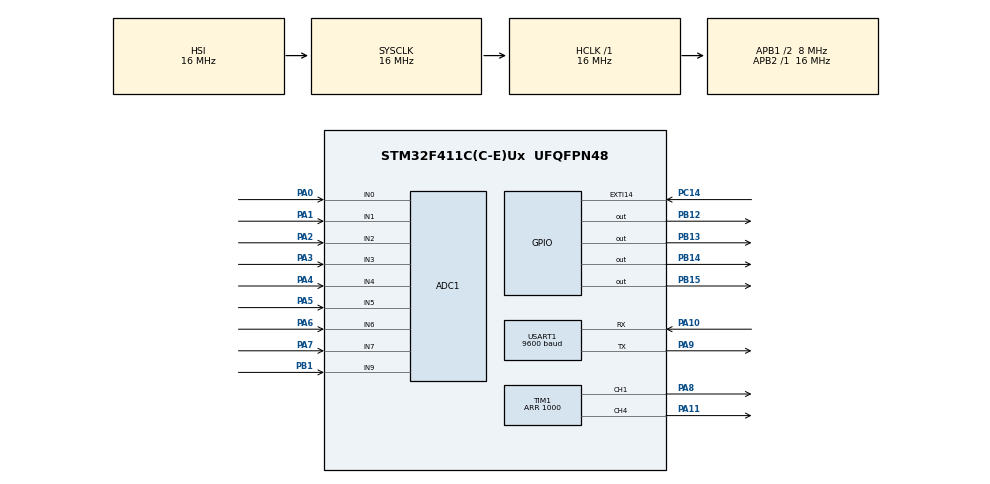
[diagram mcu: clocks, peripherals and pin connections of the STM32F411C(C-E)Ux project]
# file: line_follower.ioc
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ADC1.Channel-0\#ChannelRegularConversion=ADC_CHANNEL_0
ADC1.Channel-1\#ChannelRegularConversion=ADC_CHANNEL_1
ADC1.Channel-2\#ChannelRegularConversion=ADC_CHANNEL_2
ADC1.Channel-3\#ChannelRegularConversion=ADC_CHANNEL_3
ADC1.Channel-4\#ChannelRegularConversion=ADC_CHANNEL_4
ADC1.Channel-5\#ChannelRegularConversion=ADC_CHANNEL_5
ADC1.Channel-6\#ChannelRegularConversion=ADC_CHANNEL_6
ADC1.Channel-7\#ChannelRegularConversion=ADC_CHANNEL_7
ADC1.Channel-8\#ChannelRegularConversion=ADC_CHANNEL_9
ADC1.ContinuousConvMode=ENABLE
ADC1.DMAContinuousRequests=ENABLE
ADC1.NbrOfConversion=9
ADC1.NbrOfConversionFlag=1
ADC1.Rank-0\#ChannelRegularConversion=1
ADC1.Rank-1\#ChannelRegularConversion=2
ADC1.Rank-2\#ChannelRegularConversion=3
ADC1.Rank-3\#ChannelRegularConversion=4
ADC1.Rank-4\#ChannelRegularConversion=5
ADC1.Rank-5\#ChannelRegularConversion=6
ADC1.Rank-6\#ChannelRegularConversion=7
ADC1.Rank-7\#ChannelRegularConversion=8
ADC1.Rank-8\#ChannelRegularConversion=9
ADC1.SamplingTime-0\#ChannelRegularConversion=ADC_SAMPLETIME_144CYCLES
ADC1.SamplingTime-1\#ChannelRegularConversion=ADC_SAMPLETIME_144CYCLES
ADC1.SamplingTime-2\#ChannelRegularConversion=ADC_SAMPLETIME_144CYCLES
ADC1.SamplingTime-3\#ChannelRegularConversion=ADC_SAMPLETIME_144CYCLES
ADC1.SamplingTime-4\#ChannelRegularConversion=ADC_SAMPLETIME_144CYCLES
ADC1.SamplingTime-5\#ChannelRegularConversion=ADC_SAMPLETIME_144CYCLES
ADC1.SamplingTime-6\#ChannelRegularConversion=ADC_SAMPLETIME_144CYCLES
ADC1.SamplingTime-7\#ChannelRegularConversion=ADC_SAMPLETIME_144CYCLES
ADC1.SamplingTime-8\#ChannelRegularConversion=ADC_SAMPLETIME_144CYCLES
ADC1.ScanConvMode=ENABLE
ADC1.master=1
Dma.ADC1.0.Direction=DMA_PERIPH_TO_MEMORY
Dma.ADC1.0.FIFOMode=DMA_FIFOMODE_DISABLE
Dma.ADC1.0.Instance=DMA2_Stream0
Dma.ADC1.0.MemDataAlignment=DMA_MDATAALIGN_HALFWORD
Dma.ADC1.0.MemInc=DMA_MINC_ENABLE
Dma.ADC1.0.Mode=DMA_CIRCULAR
Dma.ADC1.0.PeriphDataAlignment=DMA_PDATAALIGN_HALFWORD
Dma.ADC1.0.PeriphInc=DMA_PINC_DISABLE
Dma.ADC1.0.Priority=DMA_PRIORITY_LOW
Dma.Request0=ADC1
Mcu.Family=STM32F4
Mcu.Name=STM32F411C(C-E)Ux
Mcu.Package=UFQFPN48
NVIC.DMA2_Stream0_IRQn=true\:0\:0\:false\:false\:true\:false\:true\:true
NVIC.EXTI15_10_IRQn=true\:0\:0\:false\:false\:true\:true\:true\:true
NVIC.PriorityGroup=NVIC_PRIORITYGROUP_4
NVIC.USART1_IRQn=true\:0\:0\:false\:false\:true\:true\:true\:true
PA0-WKUP.Signal=ADCx_IN0
PA1.Signal=ADCx_IN1
PA10.Mode=Asynchronous
PA10.Signal=USART1_RX
PA11.Signal=S_TIM1_CH4
PA2.Signal=ADCx_IN2
PA3.Signal=ADCx_IN3
PA4.Signal=ADCx_IN4
PA5.Signal=ADCx_IN5
PA6.Signal=ADCx_IN6
PA7.Signal=ADCx_IN7
PA8.Signal=S_TIM1_CH1
PA9.Mode=Asynchronous
PA9.Signal=USART1_TX
PB1.Signal=ADCx_IN9
PB12.Signal=GPIO_Output
PB13.Signal=GPIO_Output
PB14.Signal=GPIO_Output
PB15.Signal=GPIO_Output
PC14-OSC32_IN.GPIO_ModeDefaultEXTI=GPIO_MODE_IT_FALLING
PC14-OSC32_IN.GPIO_PuPd=GPIO_PULLUP
PC14-OSC32_IN.Signal=GPXTI14
ProjectManager.HeapSize=0x200
ProjectManager.StackSize=0x400
ProjectManager.TargetToolchain=STM32CubeIDE
RCC.48MHZClocksFreq_Value=16000000
RCC.AHBFreq_Value=16000000
RCC.APB1CLKDivider=RCC_HCLK_DIV2
RCC.APB1Freq_Value=8000000
RCC.APB1TimFreq_Value=16000000
RCC.APB2Freq_Value=16000000
RCC.APB2TimFreq_Value=16000000
RCC.CortexFreq_Value=16000000
RCC.HCLKFreq_Value=16000000
RCC.HSE_VALUE=25000000
RCC.HSI_VALUE=16000000
RCC.LSE_VALUE=32768
RCC.PLLM=25
RCC.PLLN=100
RCC.SYSCLKFreq_VALUE=16000000
RCC.VCOOutputFreq_Value=64000000
SH.ADCx_IN0.0=ADC1_IN0,IN0
SH.ADCx_IN1.0=ADC1_IN1,IN1
SH.ADCx_IN2.0=ADC1_IN2,IN2
SH.ADCx_IN3.0=ADC1_IN3,IN3
SH.ADCx_IN4.0=ADC1_IN4,IN4
SH.ADCx_IN5.0=ADC1_IN5,IN5
SH.ADCx_IN6.0=ADC1_IN6,IN6
SH.ADCx_IN7.0=ADC1_IN7,IN7
SH.ADCx_IN9.0=ADC1_IN9,IN9
SH.S_TIM1_CH1.0=TIM1_CH1,PWM Generation1 CH1
SH.S_TIM1_CH4.0=TIM1_CH4,PWM Generation4 CH4
TIM1.Channel-PWM\ Generation1\ CH1=TIM_CHANNEL_1
TIM1.Channel-PWM\ Generation4\ CH4=TIM_CHANNEL_4
TIM1.OCMode_PWM-PWM\ Generation4\ CH4=TIM_OCMODE_PWM1
TIM1.Period=1000
USART1.BaudRate=9600
USART1.VirtualMode=VM_ASYNC
VP_ADC1_Vbat_Input.Mode=IN-Vbat
board=custom

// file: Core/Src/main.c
/* USER CODE BEGIN Header */
/**
 ******************************************************************************
 * @file           : main.c
 * @brief          : Main program body
 ******************************************************************************
 * @attention
 *
 * Copyright (c) 2026 STMicroelectronics.
 * All rights reserved.
 *
 * This software is licensed under terms that can be found in the LICENSE file
 * in the root directory of this software component.
 * If no LICENSE file comes with this software, it is provided AS-IS.
 *
 ******************************************************************************
 */
/* USER CODE END Header */
#include "main.h"

/* USER CODE BEGIN Includes */

#include "sensor_module.h"
#include "utils.h"
#include "bluetooth.h"
#include "motor.h"
#include <stdio.h>
#include <string.h>
#include "stdlib.h"

/* USER CODE END Includes */

ADC_HandleTypeDef hadc1;
DMA_HandleTypeDef hdma_adc1;

TIM_HandleTypeDef htim1;

UART_HandleTypeDef huart1;

/* USER CODE BEGIN PV */

Sensor sensors[NUM_SENSORS];
Sensor_Array sensor_array;
PID_Controller pid;

/* USER CODE END PV */

void SystemClock_Config(void);
static void MX_GPIO_Init(void);
static void MX_DMA_Init(void);
static void MX_ADC1_Init(void);
static void MX_TIM1_Init(void);
static void MX_USART1_UART_Init(void);

/* USER CODE BEGIN 0 */

int sensor_weights[NUM_SENSORS] = { -4, -3, -2, -1,1, 2, 3, 4 };

volatile int line;
volatile int line2;
volatile int correction;
volatile int left_speed;
volatile int right_speed;
int left;
int right;
int start = 0;
volatile float dt ;

uint8_t rx_data;
char rx_buffer[30];
int rx_index = 0;
float b ;
JunctionType j;

void HAL_GPIO_EXTI_Callback(uint16_t GPIO_Pin)
{

    if (GPIO_Pin == GPIO_PIN_14)
    {
    	if(start == 1){
    		start = 0;
    	}
    	else if (start == 0){
    	start = 1;
    	}

    }
}

void HAL_UART_RxCpltCallback(UART_HandleTypeDef *huart) {
	if (huart->Instance == USART1) {
		if (rx_data == '\n' || rx_data == '\r') {

			rx_buffer[rx_index] = '\0';
			rx_index = 0;

			char *cmd = rx_buffer;

			if (strncmp(cmd, "PID:", 4) == 0) {
				float p, i, d;
				if (sscanf(cmd + 4, "%f,%f,%f", &p, &i, &d) == 3) {
					pid.Kp = p;
					pid.Ki = i;
					pid.Kd = d;
					pid.integral = 0;
					pid.last_error = 0;
				}
			}

			else if (strncmp(cmd, "PARAM:", 6) == 0) {
			    char *bs = strstr(cmd, "BS");
			    char *pl = strstr(cmd, "PL");
			    if (bs) sensor_array.base_speed = atoi(bs + 2);
			    if (pl) pid.limit = atoi(pl + 2);
			}

			else if (strcmp(cmd, "START") == 0) {
				start = 1;
			} else if (strcmp(cmd, "STOP") == 0) {
				start = 0;
			}

			else if (strlen(cmd) > 1) {
				char type = cmd[0];
				float val = atof(&cmd[1]);
				if (type == 'P')
					pid.Kp = val;
				else if (type == 'I')
					pid.Ki = val;
				else if (type == 'D')
					pid.Kd = val;
				else if (type == 'B')
					sensor_array.base_speed = (int) val;
				else if (type == 'X')
					start = 0;
				else if (type == 'O')
					start = 1;
			}

		} else {
			rx_buffer[rx_index++] = rx_data;
		}

		HAL_UART_Receive_IT(&huart1, &rx_data, 1);
	}
}

void Send_Telemetry() {
    char buf[160];
    char ir_part[80] = "IR:";
    char tmp[8];

    for (int i = 0; i < sensor_array.number_of_sensors; i++) {
        snprintf(tmp, sizeof(tmp), "%u", (uint16_t)sensor_array.array[i].mapped_value);
        strcat(ir_part, tmp);
        if (i < sensor_array.number_of_sensors - 1) strcat(ir_part, ",");
    }

    snprintf(buf, sizeof(buf),
        "%s;PL:%d;PR:%d;BV:%.1f;PE:%.1f;PO:%.1f;JC:%d\n",
        ir_part,
        (int)(sensor_array.base_speed + correction),
        (int)(sensor_array.base_speed - correction),
        b, (float)line, (float)correction, (int)j
    );

    HAL_UART_Transmit(&huart1, (uint8_t*)buf, strlen(buf), 200);
}

/* USER CODE END 0 */

int main(void)
{

  /* MCU Configuration--------------------------------------------------------*/

  /* Reset of all peripherals, Initializes the Flash interface and the Systick. */
  HAL_Init();

  /* Configure the system clock */
  SystemClock_Config();

  /* Initialize all configured peripherals */
  MX_GPIO_Init();
  MX_DMA_Init();
  MX_ADC1_Init();
  MX_TIM1_Init();
  MX_USART1_UART_Init();
  /* USER CODE BEGIN 2 */

	HAL_TIM_PWM_Start(&htim1, TIM_CHANNEL_1);
	HAL_TIM_PWM_Start(&htim1, TIM_CHANNEL_4);

	HAL_ADC_Start_DMA(&hadc1, (uint32_t*) dma_buffer, NUM_SENSORS + 1);

	HAL_UART_Receive_IT(&huart1, &rx_data, 1);

	sensor_array.number_of_sensors = NUM_SENSORS;
	sensor_array.array = sensors;
	sensor_array.weights = sensor_weights;
	sensor_array.base_speed = 500;

	Initialize_Sensor_Array(&sensor_array);

	pid.Kd = 1;
	pid.Ki = 0.5;
	pid.Kp = 1;
	pid.integral = 0;
	pid.last_error = 0;
	pid.limit = 300;

	uint32_t last_time = HAL_GetTick();
	static uint32_t last_telem = 0;

  /* USER CODE END 2 */

  /* Infinite loop */
  /* USER CODE BEGIN WHILE */
	while (1) {

		b = battery_voltage(dma_buffer);
				Sync_Sensors(&sensor_array);

				uint32_t current_time = HAL_GetTick();
				uint32_t time_diff = current_time - last_time;

				if (time_diff == 0) {
					continue;
				}
				else{

				dt = time_diff / 1000.0f;
				last_time = current_time;}

				processSensors(&sensor_array);
				binarizeSensors(&sensor_array);

				if ((HAL_GetTick() - last_telem) >= TELEM_INTERVAL_MS) {
				    last_telem = HAL_GetTick();
				    Send_Telemetry();
				}

				if (start == 1) {

				    j = detect_junction_digital(&sensor_array);

				    if (j != NO_JUNCTION) {

				        handle_junction(&sensor_array, j, 600);
				    }
				    else {
				    	line = get_line_error_digital(&sensor_array);

				        correction = calculate_pid(&pid, line, dt);
				        follow_line(correction, &sensor_array);
				    }
				}
				else {
				    set_motor_speed(0, 0, b);
				}

    /* USER CODE END WHILE */

	}
}

void SystemClock_Config(void)
{
  RCC_OscInitTypeDef RCC_OscInitStruct = {0};
  RCC_ClkInitTypeDef RCC_ClkInitStruct = {0};

  /** Configure the main internal regulator output voltage
  */
  __HAL_RCC_PWR_CLK_ENABLE();
  __HAL_PWR_VOLTAGESCALING_CONFIG(PWR_REGULATOR_VOLTAGE_SCALE1);

  /** Initializes the RCC Oscillators according to the specified parameters
  * in the RCC_OscInitTypeDef structure.
  */
  RCC_OscInitStruct.OscillatorType = RCC_OSCILLATORTYPE_HSI;
  RCC_OscInitStruct.HSIState = RCC_HSI_ON;
  RCC_OscInitStruct.HSICalibrationValue = RCC_HSICALIBRATION_DEFAULT;
  RCC_OscInitStruct.PLL.PLLState = RCC_PLL_NONE;
  if (HAL_RCC_OscConfig(&RCC_OscInitStruct) != HAL_OK)
  {
    Error_Handler();
  }

  /** Initializes the CPU, AHB and APB buses clocks
  */
  RCC_ClkInitStruct.ClockType = RCC_CLOCKTYPE_HCLK|RCC_CLOCKTYPE_SYSCLK
                              |RCC_CLOCKTYPE_PCLK1|RCC_CLOCKTYPE_PCLK2;
  RCC_ClkInitStruct.SYSCLKSource = RCC_SYSCLKSOURCE_HSI;
  RCC_ClkInitStruct.AHBCLKDivider = RCC_SYSCLK_DIV1;
  RCC_ClkInitStruct.APB1CLKDivider = RCC_HCLK_DIV2;
  RCC_ClkInitStruct.APB2CLKDivider = RCC_HCLK_DIV1;

  if (HAL_RCC_ClockConfig(&RCC_ClkInitStruct, FLASH_LATENCY_0) != HAL_OK)
  {
    Error_Handler();
  }
}

static void MX_ADC1_Init(void)
{

  ADC_ChannelConfTypeDef sConfig = {0};

  /** Configure the global features of the ADC (Clock, Resolution, Data Alignment and number of conversion)
  */
  hadc1.Instance = ADC1;
  hadc1.Init.ClockPrescaler = ADC_CLOCK_SYNC_PCLK_DIV2;
  hadc1.Init.Resolution = ADC_RESOLUTION_12B;
  hadc1.Init.ScanConvMode = ENABLE;
  hadc1.Init.ContinuousConvMode = ENABLE;
  hadc1.Init.DiscontinuousConvMode = DISABLE;
  hadc1.Init.ExternalTrigConvEdge = ADC_EXTERNALTRIGCONVEDGE_NONE;
  hadc1.Init.ExternalTrigConv = ADC_SOFTWARE_START;
  hadc1.Init.DataAlign = ADC_DATAALIGN_RIGHT;
  hadc1.Init.NbrOfConversion = 9;
  hadc1.Init.DMAContinuousRequests = ENABLE;
  hadc1.Init.EOCSelection = ADC_EOC_SINGLE_CONV;
  if (HAL_ADC_Init(&hadc1) != HAL_OK)
  {
    Error_Handler();
  }

  /** Configure for the selected ADC regular channel its corresponding rank in the sequencer and its sample time.
  */
  sConfig.Channel = ADC_CHANNEL_0;
  sConfig.Rank = 1;
  sConfig.SamplingTime = ADC_SAMPLETIME_144CYCLES;
  if (HAL_ADC_ConfigChannel(&hadc1, &sConfig) != HAL_OK)
  {
    Error_Handler();
  }

  /** Configure for the selected ADC regular channel its corresponding rank in the sequencer and its sample time.
  */
  sConfig.Channel = ADC_CHANNEL_1;
  sConfig.Rank = 2;
  if (HAL_ADC_ConfigChannel(&hadc1, &sConfig) != HAL_OK)
  {
    Error_Handler();
  }

  /** Configure for the selected ADC regular channel its corresponding rank in the sequencer and its sample time.
  */
  sConfig.Channel = ADC_CHANNEL_2;
  sConfig.Rank = 3;
  if (HAL_ADC_ConfigChannel(&hadc1, &sConfig) != HAL_OK)
  {
    Error_Handler();
  }

  /** Configure for the selected ADC regular channel its corresponding rank in the sequencer and its sample time.
  */
  sConfig.Channel = ADC_CHANNEL_3;
  sConfig.Rank = 4;
  if (HAL_ADC_ConfigChannel(&hadc1, &sConfig) != HAL_OK)
  {
    Error_Handler();
  }

  /** Configure for the selected ADC regular channel its corresponding rank in the sequencer and its sample time.
  */
  sConfig.Channel = ADC_CHANNEL_4;
  sConfig.Rank = 5;
  if (HAL_ADC_ConfigChannel(&hadc1, &sConfig) != HAL_OK)
  {
    Error_Handler();
  }

  /** Configure for the selected ADC regular channel its corresponding rank in the sequencer and its sample time.
  */
  sConfig.Channel = ADC_CHANNEL_5;
  sConfig.Rank = 6;
  if (HAL_ADC_ConfigChannel(&hadc1, &sConfig) != HAL_OK)
  {
    Error_Handler();
  }

  /** Configure for the selected ADC regular channel its corresponding rank in the sequencer and its sample time.
  */
  sConfig.Channel = ADC_CHANNEL_6;
  sConfig.Rank = 7;
  if (HAL_ADC_ConfigChannel(&hadc1, &sConfig) != HAL_OK)
  {
    Error_Handler();
  }

  /** Configure for the selected ADC regular channel its corresponding rank in the sequencer and its sample time.
  */
  sConfig.Channel = ADC_CHANNEL_7;
  sConfig.Rank = 8;
  if (HAL_ADC_ConfigChannel(&hadc1, &sConfig) != HAL_OK)
  {
    Error_Handler();
  }

  /** Configure for the selected ADC regular channel its corresponding rank in the sequencer and its sample time.
  */
  sConfig.Channel = ADC_CHANNEL_9;
  sConfig.Rank = 9;
  if (HAL_ADC_ConfigChannel(&hadc1, &sConfig) != HAL_OK)
  {
    Error_Handler();
  }

}

static void MX_TIM1_Init(void)
{

  TIM_MasterConfigTypeDef sMasterConfig = {0};
  TIM_OC_InitTypeDef sConfigOC = {0};
  TIM_BreakDeadTimeConfigTypeDef sBreakDeadTimeConfig = {0};

  htim1.Instance = TIM1;
  htim1.Init.Prescaler = 0;
  htim1.Init.CounterMode = TIM_COUNTERMODE_UP;
  htim1.Init.Period = 1000;
  htim1.Init.ClockDivision = TIM_CLOCKDIVISION_DIV1;
  htim1.Init.RepetitionCounter = 0;
  htim1.Init.AutoReloadPreload = TIM_AUTORELOAD_PRELOAD_DISABLE;
  if (HAL_TIM_PWM_Init(&htim1) != HAL_OK)
  {
    Error_Handler();
  }
  sMasterConfig.MasterOutputTrigger = TIM_TRGO_RESET;
  sMasterConfig.MasterSlaveMode = TIM_MASTERSLAVEMODE_DISABLE;
  if (HAL_TIMEx_MasterConfigSynchronization(&htim1, &sMasterConfig) != HAL_OK)
  {
    Error_Handler();
  }
  sConfigOC.OCMode = TIM_OCMODE_PWM1;
  sConfigOC.Pulse = 0;
  sConfigOC.OCPolarity = TIM_OCPOLARITY_HIGH;
  sConfigOC.OCNPolarity = TIM_OCNPOLARITY_HIGH;
  sConfigOC.OCFastMode = TIM_OCFAST_DISABLE;
  sConfigOC.OCIdleState = TIM_OCIDLESTATE_RESET;
  sConfigOC.OCNIdleState = TIM_OCNIDLESTATE_RESET;
  if (HAL_TIM_PWM_ConfigChannel(&htim1, &sConfigOC, TIM_CHANNEL_1) != HAL_OK)
  {
    Error_Handler();
  }
  if (HAL_TIM_PWM_ConfigChannel(&htim1, &sConfigOC, TIM_CHANNEL_4) != HAL_OK)
  {
    Error_Handler();
  }
  sBreakDeadTimeConfig.OffStateRunMode = TIM_OSSR_DISABLE;
  sBreakDeadTimeConfig.OffStateIDLEMode = TIM_OSSI_DISABLE;
  sBreakDeadTimeConfig.LockLevel = TIM_LOCKLEVEL_OFF;
  sBreakDeadTimeConfig.DeadTime = 0;
  sBreakDeadTimeConfig.BreakState = TIM_BREAK_DISABLE;
  sBreakDeadTimeConfig.BreakPolarity = TIM_BREAKPOLARITY_HIGH;
  sBreakDeadTimeConfig.AutomaticOutput = TIM_AUTOMATICOUTPUT_DISABLE;
  if (HAL_TIMEx_ConfigBreakDeadTime(&htim1, &sBreakDeadTimeConfig) != HAL_OK)
  {
    Error_Handler();
  }
  HAL_TIM_MspPostInit(&htim1);

}

static void MX_USART1_UART_Init(void)
{

  huart1.Instance = USART1;
  huart1.Init.BaudRate = 9600;
  huart1.Init.WordLength = UART_WORDLENGTH_8B;
  huart1.Init.StopBits = UART_STOPBITS_1;
  huart1.Init.Parity = UART_PARITY_NONE;
  huart1.Init.Mode = UART_MODE_TX_RX;
  huart1.Init.HwFlowCtl = UART_HWCONTROL_NONE;
  huart1.Init.OverSampling = UART_OVERSAMPLING_16;
  if (HAL_UART_Init(&huart1) != HAL_OK)
  {
    Error_Handler();
  }

}

static void MX_DMA_Init(void)
{

  /* DMA controller clock enable */
  __HAL_RCC_DMA2_CLK_ENABLE();

  /* DMA interrupt init */
  /* DMA2_Stream0_IRQn interrupt configuration */
  HAL_NVIC_SetPriority(DMA2_Stream0_IRQn, 0, 0);
  HAL_NVIC_EnableIRQ(DMA2_Stream0_IRQn);

}

static void MX_GPIO_Init(void)
{
  GPIO_InitTypeDef GPIO_InitStruct = {0};

  /* GPIO Ports Clock Enable */
  __HAL_RCC_GPIOC_CLK_ENABLE();
  __HAL_RCC_GPIOA_CLK_ENABLE();
  __HAL_RCC_GPIOB_CLK_ENABLE();

  /*Configure GPIO pin Output Level */
  HAL_GPIO_WritePin(GPIOB, GPIO_PIN_12|GPIO_PIN_13|GPIO_PIN_14|GPIO_PIN_15, GPIO_PIN_RESET);

  /*Configure GPIO pin : PC14 */
  GPIO_InitStruct.Pin = GPIO_PIN_14;
  GPIO_InitStruct.Mode = GPIO_MODE_IT_FALLING;
  GPIO_InitStruct.Pull = GPIO_PULLUP;
  HAL_GPIO_Init(GPIOC, &GPIO_InitStruct);

  /*Configure GPIO pins : PB12 PB13 PB14 PB15 */
  GPIO_InitStruct.Pin = GPIO_PIN_12|GPIO_PIN_13|GPIO_PIN_14|GPIO_PIN_15;
  GPIO_InitStruct.Mode = GPIO_MODE_OUTPUT_PP;
  GPIO_InitStruct.Pull = GPIO_NOPULL;
  GPIO_InitStruct.Speed = GPIO_SPEED_FREQ_LOW;
  HAL_GPIO_Init(GPIOB, &GPIO_InitStruct);

  /* EXTI interrupt init*/
  HAL_NVIC_SetPriority(EXTI15_10_IRQn, 0, 0);
  HAL_NVIC_EnableIRQ(EXTI15_10_IRQn);

}

void Error_Handler(void)
{
	__disable_irq();
	while (1) {
	}
}
